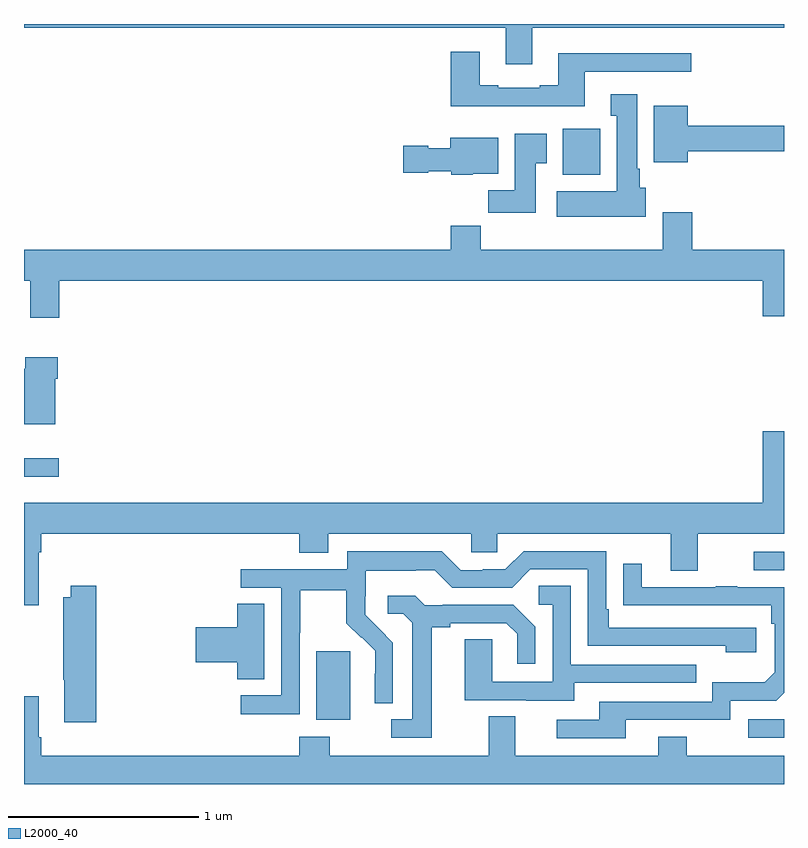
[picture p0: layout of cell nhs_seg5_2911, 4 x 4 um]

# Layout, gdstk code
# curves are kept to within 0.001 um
import gdstk
lib = gdstk.Library(unit=1e-6, precision=1e-09)
def R(c, l, rs):  # rectangles x0, y0, x1, y1
    for r in rs: c.add(gdstk.rectangle(r[:2], r[2:], *l))
def P(c, l, *ps):  # polygons
    for p in ps: c.add(gdstk.Polygon(p, *l))
L2000_40 = (2000, 40)

nhs_seg5_2911 = lib.new_cell('nhs_seg5_2911')
R(nhs_seg5_2911, L2000_40, [(284.811,833.043,285,833.139), (282.539,833.138,282.718,833.499), (284.841,833.925,285,834.021), (281,834.416,281.182,834.513), (283.835,836.006,284.032,836.248)])
P(nhs_seg5_2911, L2000_40, [(283.675,836.78),(285,836.78),(285,836.799),(281,836.799),(281,836.78),(283.535,836.78),(283.535,836.586),(283.675,836.586)],
  [(283.951,836.547),(284.512,836.547),(284.512,836.644),(283.811,836.644),(283.811,836.476),(283.715,836.476),(283.715,836.463),(283.495,836.463),(283.495,836.476),(283.399,836.476),(283.399,836.653),(283.247,836.653),(283.247,836.366),(283.951,836.366)],
  [(284.272,835.938),(284.242,835.938),(284.242,836.038),(284.227,836.038),(284.227,836.428),(284.087,836.428),(284.087,836.315),(284.12,836.315),(284.12,835.918),(283.803,835.918),(283.803,835.784),(284.272,835.784)],
  [(284.494,836.128),(285,836.128),(285,836.264),(284.494,836.264),(284.494,836.368),(284.315,836.368),(284.315,836.072),(284.494,836.072)],
  [(283.693,836.065),(283.75,836.065),(283.75,836.221),(283.583,836.221),(283.583,835.924),(283.444,835.924),(283.444,835.806),(283.693,835.806)],
  [(283.362,836.012),(283.495,836.012),(283.495,836.2),(283.244,836.2),(283.244,836.146),(283.128,836.146),(283.128,836.159),(282.996,836.159),(282.996,836.017),(283.128,836.017),(283.128,836.024),(283.248,836.024),(283.248,836.006),(283.362,836.006)],
  [(281.186,835.448),(284.888,835.448),(284.888,835.26),(285,835.26),(285,835.612),(284.516,835.612),(284.516,835.807),(284.363,835.807),(284.363,835.612),(283.403,835.612),(283.403,835.736),(283.247,835.736),(283.247,835.612),(281,835.612),(281,835.448),(281.033,835.448),(281.033,835.254),(281.186,835.254)],
  [(281.164,834.932),(281.177,834.932),(281.177,835.045),(281.006,835.045),(281.006,834.984),(281,834.984),(281,834.692),(281.164,834.692)],
  [(281.077,834.02),(281.09,834.02),(281.09,834.116),(282.449,834.116),(282.449,834.017),(282.601,834.017),(282.601,834.116),(283.353,834.116),(283.353,834.018),(283.491,834.018),(283.491,834.116),(284.405,834.116),(284.405,833.922),(284.545,833.922),(284.545,834.116),(285,834.116),(285,834.655),(284.888,834.655),(284.888,834.28),(281,834.28),(281,833.739),(281.077,833.739)],
  [(282.45,833.596),(282.453,833.596),(282.453,833.82),(282.697,833.82),(282.697,833.645),(282.774,833.568),(282.777,833.571),(282.848,833.501),(282.848,833.378),(282.846,833.378),(282.846,833.224),(282.942,833.224),(282.942,833.542),(282.796,833.69),(282.796,833.787),(282.798,833.787),(282.798,833.921),(283.061,833.921),(283.061,833.925),(283.161,833.925),(283.254,833.832),(283.569,833.832),(283.665,833.928),(283.968,833.928),(283.968,833.526),(284.693,833.526),(284.693,833.492),(284.854,833.492),(284.854,833.622),(284.077,833.622),(284.077,833.719),(284.064,833.719),(284.064,834.024),(283.629,834.024),(283.533,833.928),(283.415,833.928),(283.415,833.925),(283.299,833.925),(283.199,834.025),(282.702,834.025),(282.702,833.928),(282.141,833.928),(282.141,833.832),(282.354,833.832),(282.354,833.265),(282.141,833.265),(282.141,833.167),(282.45,833.167)],
  [(284.167,833.136),(284.718,833.136),(284.718,833.238),(284.958,833.238),(285,833.28),(285,833.835),(284.753,833.835),(284.753,833.84),(284.641,833.84),(284.641,833.835),(284.251,833.835),(284.251,833.959),(284.155,833.959),(284.155,833.74),(284.932,833.739),(284.932,833.642),(284.952,833.642),(284.952,833.388),(284.899,833.335),(284.622,833.335),(284.622,833.232),(284.027,833.232),(284.027,833.136),(283.803,833.136),(283.803,833.04),(284.167,833.04)],
  [(283.897,833.331),(284.537,833.331),(284.537,833.427),(283.878,833.427),(283.878,833.843),(283.71,833.843),(283.71,833.742),(283.782,833.742),(283.782,833.337),(283.464,833.337),(283.464,833.561),(283.319,833.561),(283.319,833.241),(283.643,833.241),(283.643,833.237),(283.897,833.237)],
  [(281.381,833.842),(281.246,833.842),(281.246,833.782),(281.206,833.782),(281.206,833.347),(281.213,833.347),(281.213,833.124),(281.381,833.124)],
  [(283.147,833.624),(283.243,833.624),(283.243,833.646),(283.538,833.646),(283.595,833.589),(283.595,833.433),(283.692,833.433),(283.692,833.626),(283.576,833.742),(283.204,833.742),(283.204,833.739),(283.11,833.739),(283.058,833.791),(282.915,833.791),(282.915,833.694),(282.996,833.694),(283.043,833.647),(283.043,833.139),(282.933,833.139),(282.933,833.043),(283.147,833.043)],
  [(282.265,833.747),(282.122,833.747),(282.122,833.624),(281.904,833.624),(281.904,833.441),(282.122,833.441),(282.122,833.35),(282.265,833.35)],
  [(285,832.948),(284.487,832.948),(284.487,833.047),(284.339,833.047),(284.339,832.948),(283.585,832.948),(283.585,833.156),(283.445,833.156),(283.445,832.948),(282.609,832.948),(282.609,833.047),(282.449,833.047),(282.449,832.948),(281.09,832.948),(281.09,833.044),(281.077,833.044),(281.077,833.26),(281,833.26),(281,832.799),(285,832.799)])

lib.write_gds('nhs_seg5_2911.gds')
